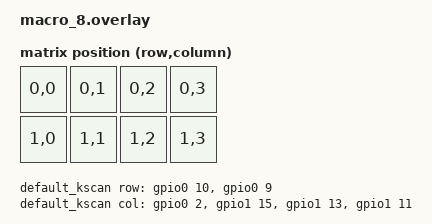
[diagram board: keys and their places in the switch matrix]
#include <zephyr/dt-bindings/gpio/gpio.h>
#include <dt-bindings/zmk/matrix_transform.h>

#include "macro_8_layouts.dtsi"

/ {
    chosen {
        zmk,kscan = &default_kscan;
        zmk,physical-layout = &physical_layout0;
    };

    default_kscan: kscan {
        compatible = "zmk,kscan-gpio-matrix";
        label = "default_kscan";

        diode-direction = "col2row";
        wakeup-source;

        /*
         * Filas:
         * R0 = P0.10
         * R1 = P0.09
         */
        row-gpios = <&gpio0 10 (GPIO_PULL_UP | GPIO_ACTIVE_LOW)>,
                    <&gpio0 9  (GPIO_PULL_UP | GPIO_ACTIVE_LOW)>;

        /*
         * Columnas:
         * C0 = P0.02
         * C1 = P1.15
         * C2 = P1.13
         * C3 = P1.11
         */
        col-gpios = <&gpio0 2  GPIO_ACTIVE_LOW>,
                    <&gpio1 15 GPIO_ACTIVE_LOW>,
                    <&gpio1 13 GPIO_ACTIVE_LOW>,
                    <&gpio1 11 GPIO_ACTIVE_LOW>;

        debounce-press-ms = <5>;
        debounce-release-ms = <5>;
    };

    default_transform: keymap_transform0 {
        compatible = "zmk,matrix-transform";
        rows = <2>;
        columns = <4>;

        map = <
            RC(0,0) RC(0,1) RC(0,2) RC(0,3)
            RC(1,0) RC(1,1) RC(1,2) RC(1,3)
        >;
    };
};

&physical_layout0 {
    kscan = <&default_kscan>;
    transform = <&default_transform>;
};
